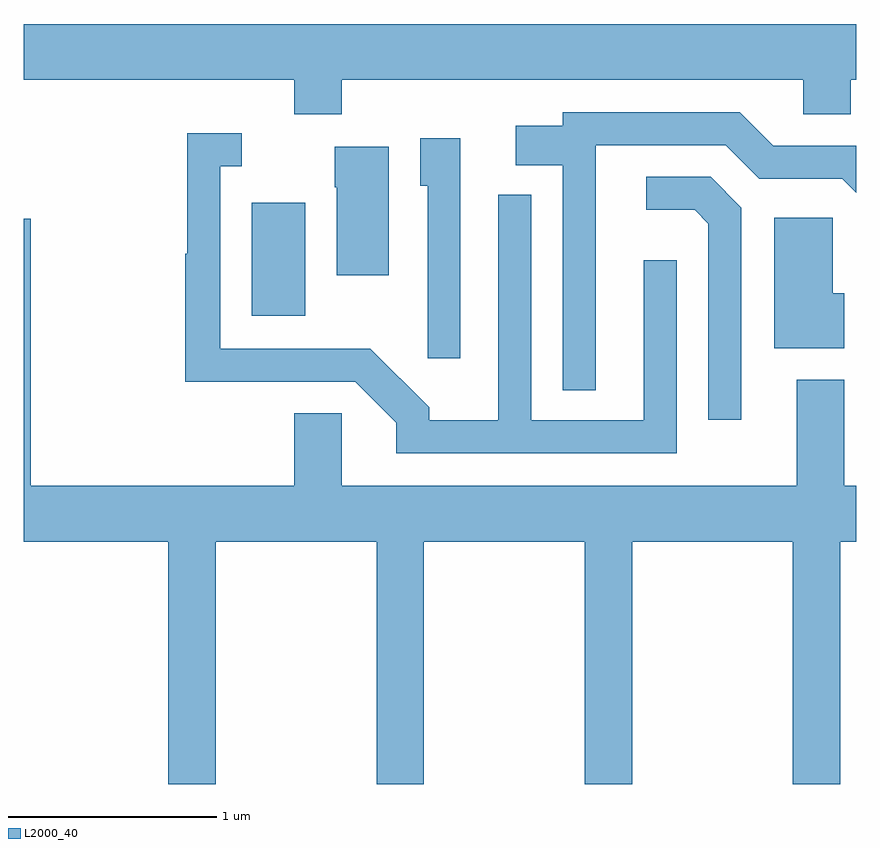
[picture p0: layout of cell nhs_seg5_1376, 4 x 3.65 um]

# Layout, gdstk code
import gdstk
lib = gdstk.Library(unit=1e-6, precision=1e-09)
def R(c, l, rs):  # rectangles x0, y0, x1, y1
    for r in rs: c.add(gdstk.rectangle(r[:2], r[2:], *l))
def P(c, l, *ps):  # polygons
    for p in ps: c.add(gdstk.Polygon(p, *l))
L2000_40 = (2000, 40)

nhs_seg5_1376 = lib.new_cell('nhs_seg5_1376')
R(nhs_seg5_1376, L2000_40, [(226.706,1462.321,226.964,1462.864)])
P(nhs_seg5_1376, L2000_40, [(227.139,1463.456),(229.356,1463.456),(229.356,1463.291),(229.584,1463.291),(229.584,1463.456),(229.611,1463.456),(229.611,1463.724),(225.611,1463.724),(225.611,1463.456),(226.911,1463.456),(226.911,1463.291),(227.139,1463.291)],
  [(228.359,1463.141),(228.984,1463.141),(229.144,1462.981),(229.544,1462.981),(229.611,1462.914),(229.611,1463.139),(229.212,1463.139),(229.052,1463.299),(228.201,1463.299),(228.201,1463.234),(227.976,1463.234),(227.976,1463.046),(228.201,1463.046),(228.201,1461.963),(228.359,1461.963)],
  [(228.749,1462.588),(228.591,1462.588),(228.591,1461.819),(228.049,1461.819),(228.049,1462.903),(227.891,1462.903),(227.891,1461.819),(227.559,1461.819),(227.559,1461.882),(227.277,1462.164),(226.554,1462.164),(226.554,1463.041),(226.658,1463.041),(226.658,1463.199),(226.396,1463.199),(226.396,1462.62),(226.386,1462.62),(226.386,1462.006),(227.204,1462.006),(227.401,1461.809),(227.401,1461.661),(228.749,1461.661)],
  [(227.709,1463.174),(227.516,1463.174),(227.516,1462.946),(227.551,1462.946),(227.551,1462.118),(227.709,1462.118)],
  [(227.364,1463.134),(227.106,1463.134),(227.106,1462.94),(227.116,1462.94),(227.116,1462.516),(227.364,1462.516)],
  [(229.059,1462.842),(228.912,1462.989),(228.603,1462.989),(228.603,1462.831),(228.834,1462.831),(228.901,1462.764),(228.901,1461.823),(229.059,1461.823)],
  [(229.554,1462.429),(229.499,1462.429),(229.499,1462.794),(229.216,1462.794),(229.216,1462.166),(229.554,1462.166)],
  [(225.644,1462.789),(225.611,1462.789),(225.611,1461.236),(226.306,1461.236),(226.306,1460.072),(226.534,1460.072),(226.534,1461.236),(227.306,1461.236),(227.306,1460.072),(227.534,1460.072),(227.534,1461.236),(228.306,1461.236),(228.306,1460.072),(228.534,1460.072),(228.534,1461.236),(229.306,1461.236),(229.306,1460.072),(229.534,1460.072),(229.534,1461.236),(229.611,1461.236),(229.611,1461.504),(229.554,1461.504),(229.554,1462.014),(229.326,1462.014),(229.326,1461.504),(227.139,1461.504),(227.139,1461.854),(226.911,1461.854),(226.911,1461.504),(225.644,1461.504)])

lib.write_gds('nhs_seg5_1376.gds')
